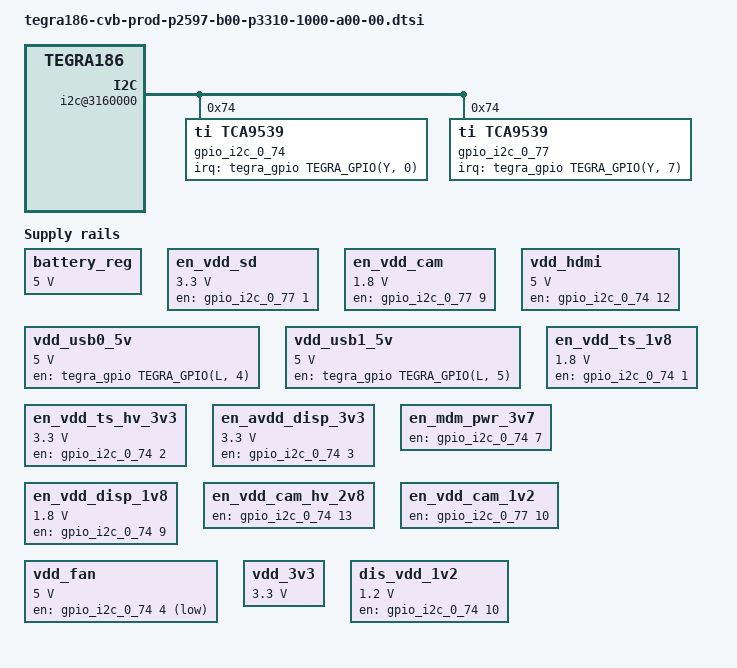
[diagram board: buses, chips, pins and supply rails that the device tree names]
/*
 * tegra186-cvb-prod-p2597-b00-p3310-1000-a00-00.dtsi: CVB-PROD P2597-B00 with
 *				P3310-1000
 *
 * Copyright (c) 2015, NVIDIA CORPORATION.  All rights reserved.
 *
 * This program is free software; you can redistribute it and/or modify
 * it under the terms of the GNU General Public License as published by
 * the Free Software Foundation; version 2 of the License.
 *
 * This program is distributed in the hope that it will be useful, but WITHOUT
 * ANY WARRANTY; without even the implied warranty of MERCHANTABILITY or
 * FITNESS FOR A PARTICULAR PURPOSE.  See the GNU General Public License for
 * more details.
 */

#include <dt-bindings/gpio/tegra-gpio.h>

/ {

	i2c@3160000 {
		gpio_i2c_0_74: gpio@74 {
			compatible = "ti,tca9539";
			reg = <0x74>;
			gpio-controller;
			#gpio-cells = <2>;
			interrupt-parent = <&tegra_gpio>;
			interrupts = <TEGRA_GPIO(Y, 0) 0x0>;
		};

		gpio_i2c_0_77: gpio@77 {
			compatible = "ti,tca9539";
			reg = <0x74>;
			gpio-controller;
			#gpio-cells = <2>;
			interrupt-parent = <&tegra_gpio>;
			interrupts = <TEGRA_GPIO(Y, 7) 0x0>;
		};
	};

	fixed-regulators {
		compatible = "simple-bus";
		device_type = "fixed-regulators";
		#address-cells = <1>;
		#size-cells = <0>;

		battery_reg: regulator@0 {
			compatible = "regulator-fixed";
			reg = <0>;
			regulator-name = "vdd-ac-bat";
			regulator-min-microvolt = <5000000>;
			regulator-max-microvolt = <5000000>;
			regulator-always-on;
		};

		en_vdd_sd: regulator@1 {
			compatible = "regulator-fixed-sync";
			reg = <1>;
			regulator-name = "en-vdd-sd";
			regulator-min-microvolt = <3300000>;
			regulator-max-microvolt = <3300000>;
			gpio = <&gpio_i2c_0_77 1 1>;
			enable-active-high;
		};

		en_vdd_cam: regulator@2 {
			compatible = "regulator-fixed-sync";
			reg = <2>;
			regulator-name = "en-vdd-cam";
			regulator-min-microvolt = <1800000>;
			regulator-max-microvolt = <1800000>;
			gpio = <&gpio_i2c_0_77 9 1>;
			enable-active-high;
		};

		vdd_hdmi: regulator@3 {
			compatible = "regulator-fixed-sync";
			reg = <3>;
			regulator-name = "vdd-hdmi";
			regulator-min-microvolt = <5000000>;
			regulator-max-microvolt = <5000000>;
			gpio = <&gpio_i2c_0_74 12 1>;
			enable-active-high;
		};

		vdd_usb0_5v: regulator@4 {
			compatible = "regulator-fixed-sync";
			reg = <4>;
			regulator-name = "vdd-usb0-5v";
			regulator-min-microvolt = <5000000>;
			regulator-max-microvolt = <5000000>;
			gpio = <&tegra_gpio TEGRA_GPIO(L, 4) 0>;
			enable-active-high;
		};

		vdd_usb1_5v: regulator@5 {
			compatible = "regulator-fixed-sync";
			reg = <5>;
			regulator-name = "vdd-usb1-5v";
			regulator-min-microvolt = <5000000>;
			regulator-max-microvolt = <5000000>;
			gpio = <&tegra_gpio TEGRA_GPIO(L, 5) 0>;
			enable-active-high;
		};

		en_vdd_ts_1v8: regulator@6 {
			compatible = "regulator-fixed-sync";
			reg = <6>;
			regulator-name = "en-vdd-ts-1v8";
			regulator-min-microvolt = <1800000>;
			regulator-max-microvolt = <1800000>;
			gpio = <&gpio_i2c_0_74 1 1>;
			enable-active-high;
		};

		en_vdd_ts_hv_3v3: regulator@7 {
			compatible = "regulator-fixed-sync";
			reg = <7>;
			regulator-name = "en-vdd-ts-hv-3v3";
			regulator-min-microvolt = <3300000>;
			regulator-max-microvolt = <3300000>;
			gpio = <&gpio_i2c_0_74 2 1>;
			enable-active-high;
		};

		en_avdd_disp_3v3: regulator@8 {
			compatible = "regulator-fixed-sync";
			reg = <8>;
			regulator-name = "en-vdd-disp-3v3";
			regulator-min-microvolt = <3300000>;
			regulator-max-microvolt = <3300000>;
			gpio = <&gpio_i2c_0_74 3 1>;
			enable-active-high;
		};

		en_mdm_pwr_3v7: regulator@9 {
			compatible = "regulator-fixed-sync";
			reg = <9>;
			regulator-name = "en-mdm-pwr-3v7";
			regulator-min-microvol = <3700000>;
			regulator-max-microvol = <3700000>;
			gpio = <&gpio_i2c_0_74 7 1>;
			enable-active-high;
		};

		en_vdd_disp_1v8: regulator@10 {
			compatible = "regulator-fixed-sync";
			reg = <10>;
			regulator-name = "en-vdd-disp-1v8";
			regulator-min-microvolt = <1800000>;
			regulator-max-microvolt = <1800000>;
			gpio = <&gpio_i2c_0_74 9 1>;
			enable-active-high;
		};

		en_vdd_cam_hv_2v8: regulator@11 {
			compatible = "regulator-fixed-sync";
			reg = <11>;
			regulator-name = "en-vdd-cam-hv-2v8";
			regulator-min-microvol = <2800000>;
			regulator-max-microvol = <2800000>;
			gpio = <&gpio_i2c_0_74 13 1>;
			enable-active-high;
		};

		en_vdd_cam_1v2: regulator@12 {
			compatible = "regulator-fixed-sync";
			reg = <12>;
			regulator-name = "en-vdd-cam-1v2";
			regulator-min-microvol = <1200000>;
			regulator-max-microvol = <1200000>;
			gpio = <&gpio_i2c_0_77 10 1>;
			enable-active-high;
		};

		vdd_fan: regulator@13 {
			compatible = "regulator-fixed-sync";
			reg = <13>;
			regulator-name = "vdd-fan";
			regulator-min-microvolt = <5000000>;
			regulator-max-microvolt = <5000000>;
			gpio = <&gpio_i2c_0_74 4 0>;
			regulator-always-on;
		};

		vdd_3v3: regulator@14 {
			compatible = "regulator-fixed-sync";
			reg = <14>;
			regulator-name = "vdd-3v3";
			regulator-min-microvolt = <3300000>;
			regulator-max-microvolt = <3300000>;
		};

		dis_vdd_1v2: regulator@15 {
			compatible = "regulator-fixed-sync";
			reg = <15>;
			regulator-name = "dis-vdd-1v2";
			regulator-min-microvolt = <1200000>;
			regulator-max-microvolt = <1200000>;
			gpio = <&gpio_i2c_0_74 10 1>;
			enable-active-high;
		};
	};
};
